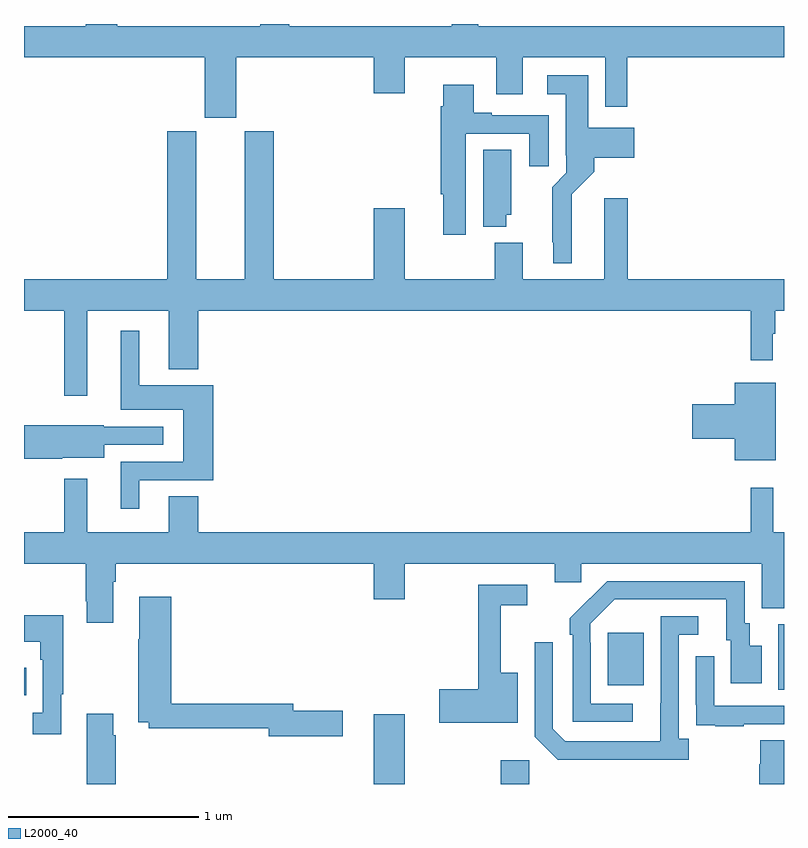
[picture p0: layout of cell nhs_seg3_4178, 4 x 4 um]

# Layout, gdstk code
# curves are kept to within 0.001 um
import gdstk
lib = gdstk.Library(unit=1e-6, precision=1e-09)
def R(c, l, rs):  # rectangles x0, y0, x1, y1
    for r in rs: c.add(gdstk.rectangle(r[:2], r[2:], *l))
def P(c, l, *ps):  # polygons
    for p in ps: c.add(gdstk.Polygon(p, *l))
L2000_40 = (2000, 40)

nhs_seg3_4178 = lib.new_cell('nhs_seg3_4178')
R(nhs_seg3_4178, L2000_40, [(332.84,722.4,333.004,722.767), (333.509,722.4,333.66,722.524), (331,722.866,331.013,723.013), (334.97,722.896,335,723.24), (334.073,722.921,334.261,723.196)])
P(nhs_seg3_4178, L2000_40, [(333.39,726.4),(333.251,726.4),(333.251,726.388),(332.395,726.388),(332.395,726.4),(332.243,726.4),(332.243,726.388),(331.49,726.388),(331.49,726.4),(331.325,726.4),(331.325,726.388),(331,726.388),(331,726.224),(331.952,726.224),(331.952,725.907),(332.116,725.907),(332.116,726.224),(332.84,726.224),(332.84,726.036),(333.004,726.036),(333.004,726.224),(333.485,726.224),(333.485,726.03),(333.625,726.03),(333.625,726.224),(334.059,726.224),(334.059,725.964),(334.175,725.964),(334.175,726.224),(335,726.224),(335,726.388),(333.39,726.388)],
  [(333.883,725.504),(334.001,725.622),(334.001,725.696),(334.213,725.696),(334.213,725.854),(333.97,725.854),(333.97,726.13),(333.753,726.13),(333.753,726.029),(333.851,726.029),(333.851,725.71),(333.855,725.71),(333.855,725.616),(333.781,725.542),(333.781,725.251),(333.785,725.251),(333.785,725.141),(333.883,725.141)],
  [(333.325,725.823),(333.659,725.823),(333.659,725.652),(333.763,725.652),(333.763,725.919),(333.463,725.919),(333.463,725.932),(333.367,725.932),(333.367,726.079),(333.206,726.079),(333.206,725.966),(333.194,725.966),(333.194,725.504),(333.206,725.504),(333.206,725.292),(333.325,725.292)],
  [(331.333,724.892),(331.763,724.892),(331.763,724.583),(331.916,724.583),(331.916,724.892),(334.825,724.892),(334.825,724.629),(334.942,724.629),(334.942,724.769),(334.954,724.769),(334.954,724.892),(335,724.892),(335,725.056),(334.178,725.056),(334.178,725.482),(334.055,725.482),(334.055,725.056),(333.625,725.056),(333.625,725.248),(333.478,725.248),(333.478,725.056),(333.004,725.056),(333.004,725.431),(332.84,725.431),(332.84,725.056),(332.315,725.056),(332.315,725.835),(332.162,725.835),(332.162,725.056),(331.906,725.056),(331.906,725.835),(331.754,725.835),(331.754,725.056),(331,725.056),(331,724.892),(331.212,724.892),(331.212,724.443),(331.333,724.443)],
  [(333.538,725.397),(333.565,725.397),(333.565,725.738),(333.416,725.738),(333.416,725.333),(333.538,725.333)],
  [(331.606,723.999),(331.997,723.999),(331.997,724.498),(331.606,724.498),(331.606,724.786),(331.508,724.786),(331.508,724.37),(331.838,724.37),(331.838,724.095),(331.508,724.095),(331.508,723.849),(331.606,723.849)],
  [(334.957,724.513),(334.742,724.513),(334.742,724.4),(334.518,724.4),(334.518,724.217),(334.742,724.217),(334.742,724.103),(334.957,724.103)],
  [(331.2,724.118),(331.423,724.118),(331.423,724.185),(331.732,724.185),(331.732,724.281),(331.419,724.281),(331.419,724.289),(331,724.289),(331,724.111),(331.2,724.111)],
  [(331.471,723.464),(331.484,723.464),(331.484,723.56),(332.84,723.56),(332.84,723.372),(333.004,723.372),(333.004,723.56),(333.794,723.56),(333.794,723.462),(333.933,723.462),(333.933,723.56),(334.883,723.56),(334.883,723.325),(335,723.325),(335,723.724),(334.943,723.724),(334.943,723.958),(334.825,723.958),(334.825,723.724),(331.916,723.724),(331.916,723.914),(331.763,723.914),(331.763,723.724),(331.333,723.724),(331.333,724.006),(331.212,724.006),(331.212,723.724),(331,723.724),(331,723.56),(331.324,723.56),(331.324,723.361),(331.331,723.361),(331.331,723.249),(331.471,723.249)],
  [(334.204,722.823),(333.984,722.823),(333.984,723.143),(333.981,723.143),(333.981,723.243),(334.11,723.372),(334.697,723.372),(334.697,723.156),(334.721,723.156),(334.721,722.931),(334.882,722.931),(334.882,723.127),(334.819,723.127),(334.819,723.246),(334.794,723.246),(334.794,723.468),(334.07,723.468),(333.873,723.273),(333.873,723.185),(333.888,723.185),(333.888,722.727),(334.204,722.727)],
  [(333.598,722.986),(333.509,722.986),(333.509,723.342),(333.649,723.342),(333.649,723.45),(333.391,723.45),(333.391,722.9),(333.186,722.9),(333.186,722.722),(333.598,722.722)],
  [(332.677,722.786),(332.416,722.786),(332.416,722.822),(331.775,722.822),(331.775,723.385),(331.607,723.385),(331.607,723.161),(331.6,723.161),(331.6,722.726),(331.656,722.726),(331.656,722.694),(332.288,722.694),(332.288,722.651),(332.677,722.651)],
  [(331.195,722.873),(331.207,722.873),(331.207,723.289),(331,723.289),(331,723.149),(331.086,723.149),(331.086,723.053),(331.098,723.053),(331.098,722.774),(331.047,722.774),(331.047,722.661),(331.195,722.661)],
  [(334.498,722.638),(334.446,722.638),(334.446,723.186),(334.549,723.186),(334.549,723.282),(334.35,723.282),(334.349,722.625),(333.849,722.625),(333.783,722.691),(333.783,723.145),(333.687,723.145),(333.687,722.649),(333.808,722.528),(334.498,722.528)],
  [(334.787,722.715),(335,722.715),(335,722.811),(334.632,722.811),(334.632,723.073),(334.536,723.073),(334.536,722.818),(334.537,722.818),(334.537,722.709),(334.639,722.709),(334.639,722.703),(334.787,722.703)],
  [(331.484,722.657),(331.471,722.657),(331.471,722.77),(331.331,722.77),(331.331,722.4),(331.484,722.4)],
  [(335,722.63),(334.876,722.63),(334.876,722.505),(334.871,722.505),(334.871,722.4),(335,722.4)])

lib.write_gds('nhs_seg3_4178.gds')
